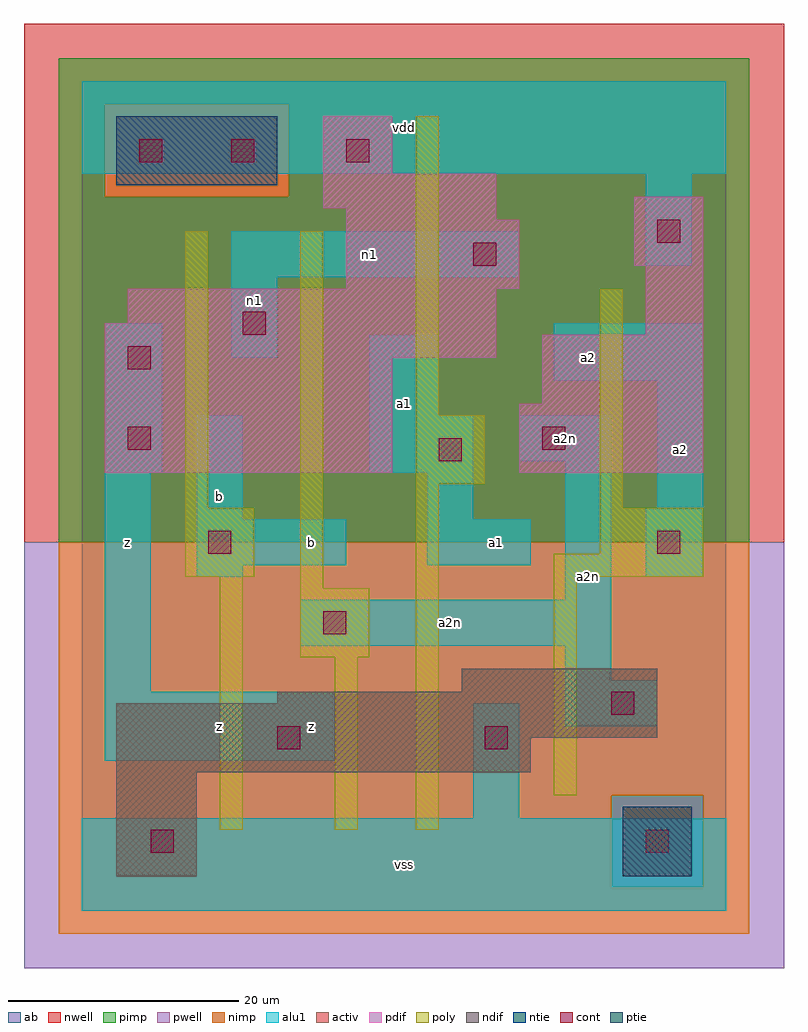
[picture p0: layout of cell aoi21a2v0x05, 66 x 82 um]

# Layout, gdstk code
import gdstk
lib = gdstk.Library(unit=1e-6, precision=1e-09)
def R(c, l, rs):  # rectangles x0, y0, x1, y1
    for r in rs: c.add(gdstk.rectangle(r[:2], r[2:], *l))
ndif = (3, 0)
pdif = (4, 0)
ntie = (5, 0)
ptie = (6, 0)
cont = (25, 0)
pwell = (41, 0)
nwell = (42, 0)
activ = (43, 0)
pimp = (44, 0)
nimp = (45, 0)
poly = (46, 0)
alu1 = (49, 0)
ab = (63, 0)

aoi21a2v0x05 = lib.new_cell('aoi21a2v0x05')
R(aoi21a2v0x05, ndif, [(3,3,10,12), (3,12,39,15), (3,15,50,18), (17,18,50,19), (33,19,50,21)])
R(aoi21a2v0x05, pdif, [(2,38,27,48), (38,38,54,44), (40,44,54,50), (2,48,36,51), (49,50,54,56), (4,51,36,54), (23,54,38,60), (48,56,54,62), (23,60,36,61), (21,61,36,64), (21,64,27,69)])
R(aoi21a2v0x05, ntie, [(3,63,17,69)])
R(aoi21a2v0x05, ptie, [(47,3,53,9)])
R(aoi21a2v0x05, cont, [(6,5,8,7), (49,5,51,7), (17,14,19,16), (35,14,37,16), (46,17,48,19), (21,24,23,26), (11,31,13,33), (50,31,52,33), (31,39,33,41), (4,40,6,42), (40,40,42,42), (4,47,6,49), (14,50,16,52), (34,56,36,58), (50,58,52,60), (5,65,7,67), (13,65,15,67), (23,65,25,67)])
R(aoi21a2v0x05, pwell, [(-5,-5,61,32)])
R(aoi21a2v0x05, nwell, [(-5,32,61,77)])
R(aoi21a2v0x05, activ, [(3,3,10,12), (47,3,53,9), (3,12,39,15), (3,15,50,18), (17,18,50,19), (33,19,50,21), (2,38,27,48), (38,38,54,44), (40,44,54,50), (2,48,36,51), (49,50,54,56), (4,51,36,54), (23,54,38,60), (48,56,54,62), (23,60,36,61), (21,61,36,64), (3,63,17,69), (21,64,27,69)])
R(aoi21a2v0x05, pimp, [(46,2,54,10), (-2,32,58,62), (-2,62,2,70), (18,62,58,70), (-2,70,58,74)])
R(aoi21a2v0x05, nimp, [(-2,-2,58,2), (-2,2,46,10), (54,2,58,10), (-2,10,58,32), (2,62,18,70)])
R(aoi21a2v0x05, poly, [(12,7,14,29), (22,7,24,22), (29,7,31,37), (41,10,43,29), (19,22,25,28), (19,28,21,59), (9,29,15,35), (41,29,54,31), (45,31,54,35), (9,35,11,59), (45,35,47,54), (29,37,35,43), (29,43,31,69)])
R(aoi21a2v0x05, alu1, [(0,0,56,8), (34,8,38,18), (2,13,22,19), (42,16,50,20), (2,19,6,38), (42,20,46,23), (19,23,46,27), (42,27,46,39), (10,29,14,30), (49,29,54,35), (10,30,23,34), (30,30,39,34), (10,34,14,43), (30,34,34,38), (50,35,54,46), (2,38,7,51), (25,38,34,43), (38,39,46,43), (25,43,31,50), (41,46,54,51), (13,48,17,55), (13,55,38,59), (49,56,53,64), (0,64,56,72)])
R(aoi21a2v0x05, ab, [(0,0,56,72)])
aoi21a2v0x05.add(gdstk.Label('n1', (15,53), layer=49, texttype=0))
aoi21a2v0x05.add(gdstk.Label('a2n', (44,29), layer=49, texttype=0))
aoi21a2v0x05.add(gdstk.Label('a2n', (32,25), layer=49, texttype=0))
aoi21a2v0x05.add(gdstk.Label('a2n', (42,41), layer=49, texttype=0))
aoi21a2v0x05.add(gdstk.Label('n1', (25,57), layer=49, texttype=0))
aoi21a2v0x05.add(gdstk.Label('z', (4,32), layer=49, texttype=0))
aoi21a2v0x05.add(gdstk.Label('z', (20,16), layer=49, texttype=0))
aoi21a2v0x05.add(gdstk.Label('z', (12,16), layer=49, texttype=0))
aoi21a2v0x05.add(gdstk.Label('b', (20,32), layer=49, texttype=0))
aoi21a2v0x05.add(gdstk.Label('b', (12,36), layer=49, texttype=0))
aoi21a2v0x05.add(gdstk.Label('vss', (28,4), layer=49, texttype=0))
aoi21a2v0x05.add(gdstk.Label('a1', (36,32), layer=49, texttype=0))
aoi21a2v0x05.add(gdstk.Label('a1', (28,44), layer=49, texttype=0))
aoi21a2v0x05.add(gdstk.Label('vdd', (28,68), layer=49, texttype=0))
aoi21a2v0x05.add(gdstk.Label('a2', (52,40), layer=49, texttype=0))
aoi21a2v0x05.add(gdstk.Label('a2', (44,48), layer=49, texttype=0))

lib.write_gds('aoi21a2v0x05.gds')
